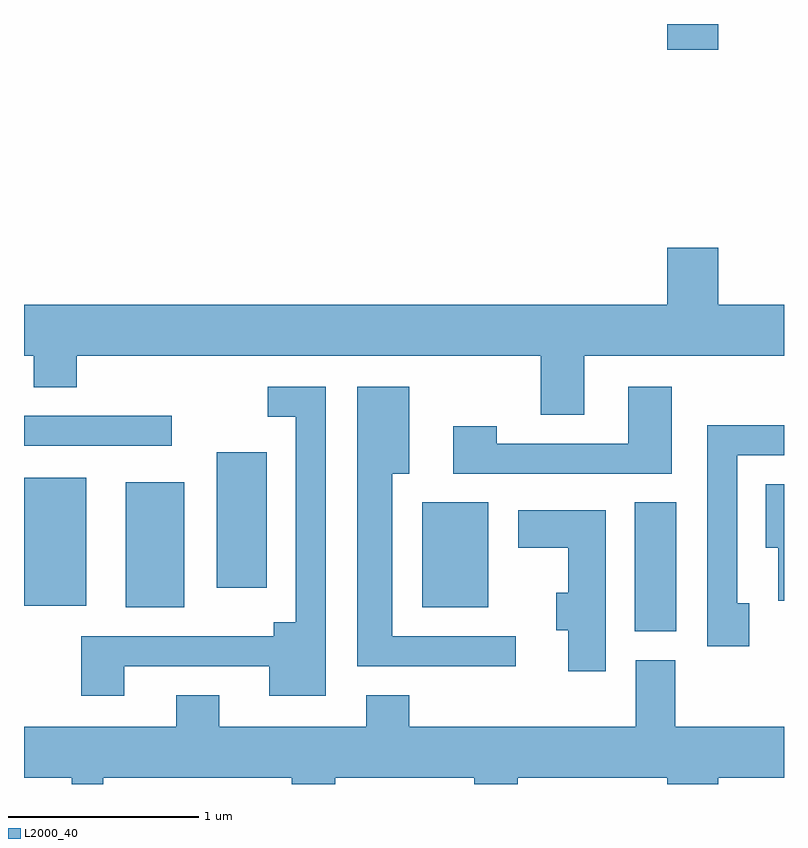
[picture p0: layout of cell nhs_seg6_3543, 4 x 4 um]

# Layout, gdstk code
import gdstk
lib = gdstk.Library(unit=1e-6, precision=1e-09)
def R(c, l, rs):  # rectangles x0, y0, x1, y1
    for r in rs: c.add(gdstk.rectangle(r[:2], r[2:], *l))
def P(c, l, *ps):  # polygons
    for p in ps: c.add(gdstk.Polygon(p, *l))
L2000_40 = (2000, 40)

nhs_seg6_3543 = lib.new_cell('nhs_seg6_3543')
R(nhs_seg6_3543, L2000_40, [(294.826,1612.966,295.044,1613.644), (292.146,1613.091,292.454,1613.749), (293.706,1613.091,294.054,1613.644), (291.611,1613.101,291.939,1613.774), (292.626,1613.196,292.889,1613.909), (291.611,1613.941,292.388,1614.099), (294.996,1616.026,295.264,1616.162)])
P(nhs_seg6_3543, L2000_40, [(294.559,1614.416),(295.611,1614.416),(295.611,1614.684),(295.264,1614.684),(295.264,1614.984),(294.996,1614.984),(294.996,1614.684),(291.611,1614.684),(291.611,1614.416),(291.661,1614.416),(291.661,1614.251),(291.889,1614.251),(291.889,1614.416),(294.331,1614.416),(294.331,1614.106),(294.559,1614.106)],
  [(292.139,1612.781),(292.901,1612.781),(292.901,1612.626),(293.199,1612.626),(293.199,1614.254),(292.893,1614.254),(292.893,1614.096),(293.041,1614.096),(293.041,1613.014),(292.926,1613.014),(292.926,1612.939),(291.911,1612.939),(291.911,1612.626),(292.139,1612.626)],
  [(295.019,1614.254),(294.791,1614.254),(294.791,1613.954),(294.099,1613.954),(294.099,1614.044),(293.871,1614.044),(293.871,1613.796),(295.019,1613.796)],
  [(294.198,1612.939),(293.549,1612.939),(293.549,1613.796),(293.639,1613.796),(293.639,1614.254),(293.366,1614.254),(293.366,1612.781),(294.198,1612.781)],
  [(295.429,1613.114),(295.364,1613.114),(295.364,1613.891),(295.611,1613.891),(295.611,1614.049),(295.206,1614.049),(295.206,1612.886),(295.429,1612.886)],
  [(295.611,1613.739),(295.516,1613.739),(295.516,1613.406),(295.581,1613.406),(295.581,1613.126),(295.611,1613.126)],
  [(294.674,1613.604),(294.211,1613.604),(294.211,1613.406),(294.476,1613.406),(294.476,1613.169),(294.411,1613.169),(294.411,1612.971),(294.476,1612.971),(294.476,1612.756),(294.674,1612.756)],
  [(292.029,1612.196),(293.021,1612.196),(293.021,1612.162),(293.249,1612.162),(293.249,1612.196),(293.981,1612.196),(293.981,1612.162),(294.209,1612.162),(294.209,1612.196),(294.996,1612.196),(294.996,1612.162),(295.264,1612.162),(295.264,1612.196),(295.611,1612.196),(295.611,1612.464),(295.039,1612.464),(295.039,1612.814),(294.831,1612.814),(294.831,1612.464),(293.639,1612.464),(293.639,1612.629),(293.411,1612.629),(293.411,1612.464),(292.639,1612.464),(292.639,1612.629),(292.411,1612.629),(292.411,1612.464),(291.611,1612.464),(291.611,1612.196),(291.861,1612.196),(291.861,1612.162),(292.029,1612.162)])

lib.write_gds('nhs_seg6_3543.gds')
